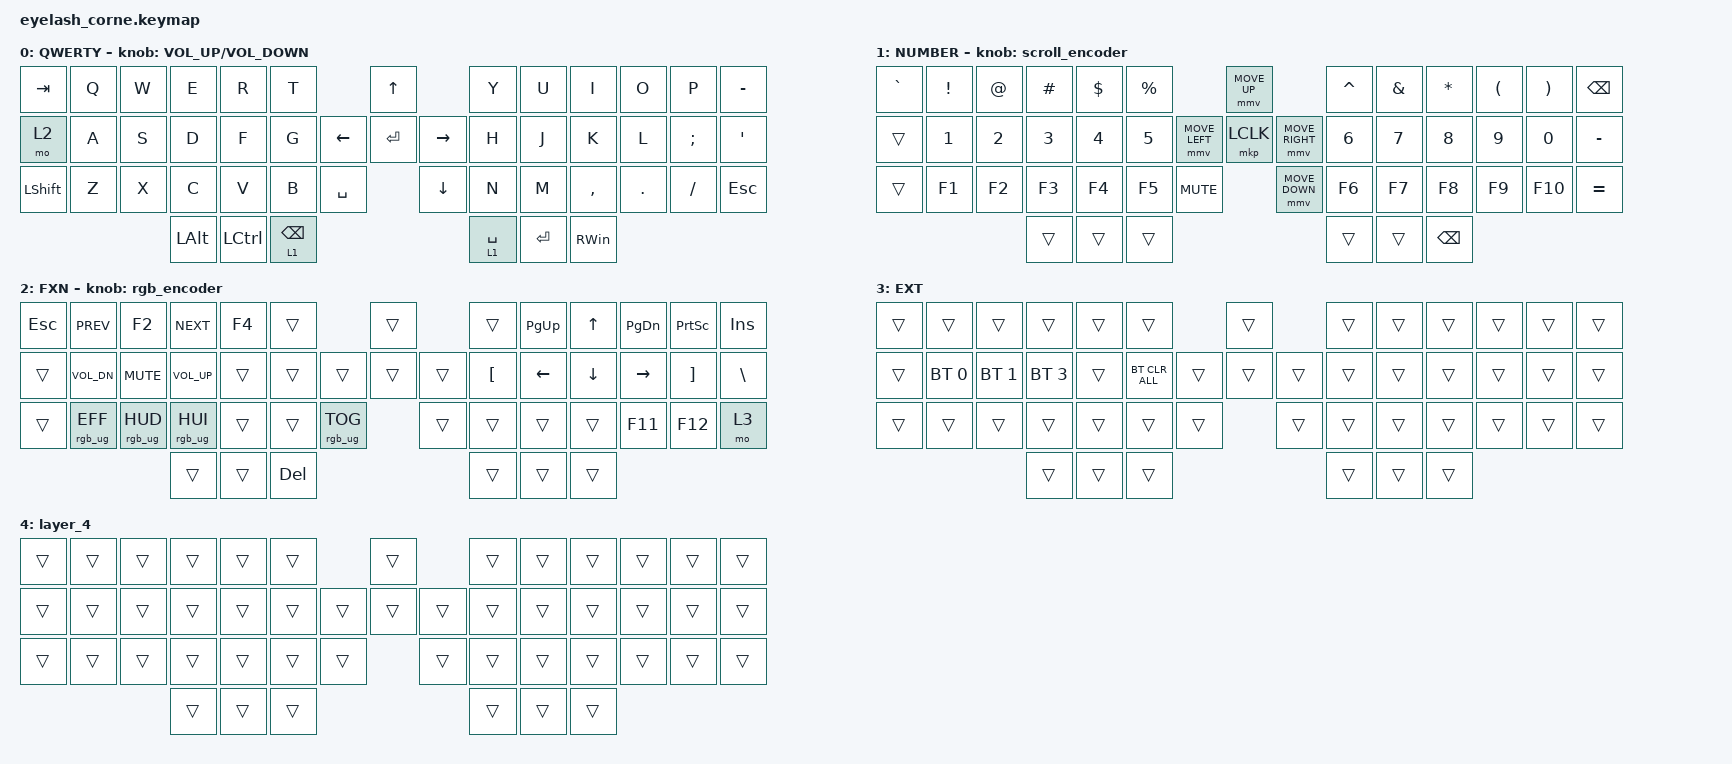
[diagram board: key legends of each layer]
#include <dt-bindings/zmk/mouse.h>
#include <input/processors.dtsi>
#include <behaviors.dtsi>
#include <dt-bindings/zmk/bt.h>
#include <dt-bindings/zmk/keys.h>
#include <dt-bindings/zmk/pointing.h>
#include <dt-bindings/zmk/rgb.h>

/*

   &mmv_input_listener {
       input-processors = <&zip_xy_scaler 2 1>;
   };

   &msc_input_listener {
       input-processors = <&zip_xy_scaler 2 1>;
   };

 */

#define ZMK_MOUSE_DEFAULT_MOVE_VAL 1200  // 600
#define ZMK_MOUSE_DEFAULT_SCRL_VAL 20    // 10

/ {
    behaviors {
        td0: td0 {
            compatible = "zmk,behavior-tap-dance";
            display-name = "Shift/Caps Lock Tap Dance";
            #binding-cells = <0>;
            bindings = <&kp LEFT_SHIFT>, <&kp CAPS>;
        };
    };

    rgb_encoder: rgb_encoder {
        compatible = "zmk,behavior-sensor-rotate";
        #sensor-binding-cells = <0>;
        bindings = <&rgb_ug RGB_BRI>, <&rgb_ug RGB_BRD>;
    };

    scroll_encoder: scroll_encoder {
        compatible = "zmk,behavior-sensor-rotate";
        #sensor-binding-cells = <0>;
        bindings = <&msc SCRL_DOWN>, <&msc SCRL_UP>;

        tap-ms = <30>;
    };

    keymap {
        compatible = "zmk,keymap";

        default_layer {
            display-name = "QWERTY";
            bindings = <
&kp TAB         &kp Q  &kp W  &kp E         &kp R      &kp T                                   &kp UP                &kp Y        &kp U      &kp I          &kp O    &kp P     &kp MINUS
&mo 2           &kp A  &kp S  &kp D         &kp F      &kp G                         &kp LEFT  &kp ENTER  &kp RIGHT  &kp H        &kp J      &kp K          &kp L    &kp SEMI  &kp SQT
&kp LEFT_SHIFT  &kp Z  &kp X  &kp C         &kp V      &kp B            &kp SPACE              &kp DOWN              &kp N        &kp M      &kp COMMA      &kp DOT  &kp FSLH  &kp ESCAPE
                              &kp LEFT_ALT  &kp LCTRL  &lt 1 BACKSPACE                                               &lt 1 SPACE  &kp ENTER  &kp RIGHT_WIN
            >;

            sensor-bindings = <&inc_dec_kp C_VOLUME_UP C_VOLUME_DOWN>;
        };

        lower_layer {
            display-name = "NUMBER";
            bindings = <
&kp GRAVE  &kp EXCL  &kp AT  &kp POUND  &kp DOLLAR  &kp PERCENT                                &mmv MOVE_UP                     &kp CARET  &kp AMPERSAND  &kp STAR       &kp LEFT_PARENTHESIS  &kp RIGHT_PARENTHESIS  &kp BACKSPACE
&trans     &kp N1    &kp N2  &kp N3     &kp N4      &kp N5                     &mmv MOVE_LEFT  &mkp LCLK       &mmv MOVE_RIGHT  &kp N6     &kp N7         &kp N8         &kp N9                &kp N0                 &kp MINUS
&trans     &kp F1    &kp F2  &kp F3     &kp F4      &kp F5       &kp C_MUTE                    &mmv MOVE_DOWN                   &kp F6     &kp F7         &kp F8         &kp F9                &kp F10                &kp EQUAL
                             &trans     &trans      &trans                                                                      &trans     &trans         &kp BACKSPACE
            >;

            sensor-bindings = <&scroll_encoder>;
        };

        Function {
            bindings = <
&kp ESCAPE  &kp C_PREV       &kp F2           &kp C_NEXT       &kp F4  &trans                                 &trans          &trans            &kp PG_UP  &kp UP    &kp PG_DN  &kp PRINTSCREEN    &kp INSERT
&trans      &kp C_VOL_DN     &kp C_MUTE       &kp C_VOLUME_UP  &trans  &trans                         &trans  &trans  &trans  &kp LEFT_BRACKET  &kp LEFT   &kp DOWN  &kp RIGHT  &kp RIGHT_BRACKET  &kp BACKSLASH
&trans      &rgb_ug RGB_EFF  &rgb_ug RGB_HUD  &rgb_ug RGB_HUI  &trans  &trans      &rgb_ug RGB_TOG            &trans          &trans            &trans     &trans    &kp F11    &kp F12            &mo 3
                                              &trans           &trans  &kp DELETE                                             &trans            &trans     &trans
            >;

            sensor-bindings = <&rgb_encoder>;
            label = "FXN";
        };

        layer_3 {
            bindings = <
&trans  &trans        &trans        &trans        &trans  &trans                            &trans          &trans  &trans  &trans  &trans  &trans  &trans
&trans  &bt BT_SEL 0  &bt BT_SEL 1  &bt BT_SEL 3  &trans  &bt BT_CLR_ALL            &trans  &trans  &trans  &trans  &trans  &trans  &trans  &trans  &trans
&trans  &trans        &trans        &trans        &trans  &trans          &trans            &trans          &trans  &trans  &trans  &trans  &trans  &trans
                                    &trans        &trans  &trans                                            &trans  &trans  &trans
            >;

            label = "EXT";
        };

        layer_4 {
            bindings = <
&trans  &trans  &trans  &trans  &trans  &trans                    &trans          &trans  &trans  &trans  &trans  &trans  &trans
&trans  &trans  &trans  &trans  &trans  &trans            &trans  &trans  &trans  &trans  &trans  &trans  &trans  &trans  &trans
&trans  &trans  &trans  &trans  &trans  &trans  &trans            &trans          &trans  &trans  &trans  &trans  &trans  &trans
                        &trans  &trans  &trans                                    &trans  &trans  &trans
            >;
        };
    };
};
